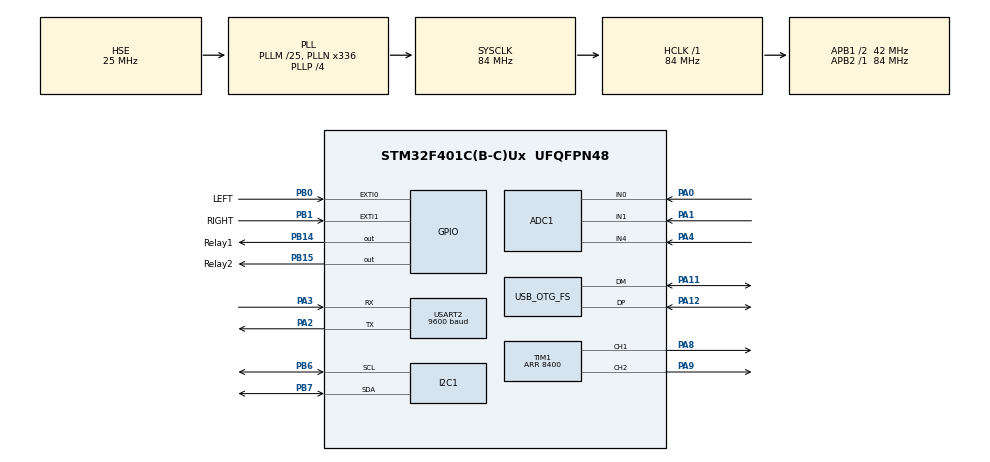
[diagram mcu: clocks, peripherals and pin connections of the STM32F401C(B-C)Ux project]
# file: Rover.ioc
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ADC1.Channel-1\#ChannelRegularConversion=ADC_CHANNEL_0
ADC1.Channel-2\#ChannelRegularConversion=ADC_CHANNEL_1
ADC1.Channel-3\#ChannelRegularConversion=ADC_CHANNEL_4
ADC1.Channel-4\#ChannelRegularConversion=ADC_CHANNEL_TEMPSENSOR
ADC1.Channel-5\#ChannelRegularConversion=ADC_CHANNEL_VREFINT
ADC1.ContinuousConvMode=DISABLE
ADC1.NbrOfConversion=5
ADC1.NbrOfConversionFlag=1
ADC1.Rank-1\#ChannelRegularConversion=1
ADC1.Rank-2\#ChannelRegularConversion=2
ADC1.Rank-3\#ChannelRegularConversion=3
ADC1.Rank-4\#ChannelRegularConversion=4
ADC1.Rank-5\#ChannelRegularConversion=5
ADC1.SamplingTime-1\#ChannelRegularConversion=ADC_SAMPLETIME_15CYCLES
ADC1.SamplingTime-2\#ChannelRegularConversion=ADC_SAMPLETIME_15CYCLES
ADC1.SamplingTime-3\#ChannelRegularConversion=ADC_SAMPLETIME_15CYCLES
ADC1.SamplingTime-4\#ChannelRegularConversion=ADC_SAMPLETIME_15CYCLES
ADC1.SamplingTime-5\#ChannelRegularConversion=ADC_SAMPLETIME_15CYCLES
ADC1.ScanConvMode=ENABLE
ADC1.master=1
Dma.ADC1.0.Direction=DMA_PERIPH_TO_MEMORY
Dma.ADC1.0.FIFOMode=DMA_FIFOMODE_DISABLE
Dma.ADC1.0.Instance=DMA2_Stream0
Dma.ADC1.0.MemDataAlignment=DMA_MDATAALIGN_HALFWORD
Dma.ADC1.0.MemInc=DMA_MINC_ENABLE
Dma.ADC1.0.Mode=DMA_NORMAL
Dma.ADC1.0.PeriphDataAlignment=DMA_PDATAALIGN_HALFWORD
Dma.ADC1.0.PeriphInc=DMA_PINC_DISABLE
Dma.ADC1.0.Priority=DMA_PRIORITY_LOW
Dma.Request0=ADC1
Mcu.Family=STM32F4
Mcu.Name=STM32F401C(B-C)Ux
Mcu.Package=UFQFPN48
NVIC.DMA2_Stream0_IRQn=true\:0\:0\:false\:false\:true\:false\:true\:true
NVIC.EXTI0_IRQn=true\:0\:0\:false\:false\:true\:true\:true\:true
NVIC.EXTI1_IRQn=true\:0\:0\:false\:false\:true\:true\:true\:true
NVIC.OTG_FS_IRQn=true\:0\:0\:false\:false\:true\:false\:true\:true
NVIC.PriorityGroup=NVIC_PRIORITYGROUP_4
NVIC.TIM1_UP_TIM10_IRQn=true\:0\:0\:false\:false\:true\:true\:true\:true
NVIC.TIM2_IRQn=true\:0\:0\:false\:false\:true\:true\:true\:true
NVIC.USART2_IRQn=true\:0\:0\:false\:false\:true\:true\:true\:true
PA0-WKUP.Signal=ADCx_IN0
PA1.Signal=ADCx_IN1
PA11.Mode=Device_Only
PA11.Signal=USB_OTG_FS_DM
PA12.Mode=Device_Only
PA12.Signal=USB_OTG_FS_DP
PA2.Mode=Asynchronous
PA2.Signal=USART2_TX
PA3.Mode=Asynchronous
PA3.Signal=USART2_RX
PA4.Signal=ADCx_IN4
PA8.Signal=S_TIM1_CH1
PA9.Signal=S_TIM1_CH2
PB0.GPIO_Label=LEFT
PB0.Signal=GPXTI0
PB1.GPIO_Label=RIGHT
PB1.Signal=GPXTI1
PB14.GPIO_Label=Relay1
PB14.Signal=GPIO_Output
PB15.GPIO_Label=Relay2
PB15.Signal=GPIO_Output
PB6.Mode=I2C
PB6.Signal=I2C1_SCL
PB7.Mode=I2C
PB7.Signal=I2C1_SDA
PH0\ -\ OSC_IN.Mode=HSE-External-Oscillator
PH0\ -\ OSC_IN.Signal=RCC_OSC_IN
PH1\ -\ OSC_OUT.Mode=HSE-External-Oscillator
PH1\ -\ OSC_OUT.Signal=RCC_OSC_OUT
ProjectManager.HeapSize=0x200
ProjectManager.StackSize=0x400
ProjectManager.TargetToolchain=STM32CubeIDE
RCC.48MHZClocksFreq_Value=48000000
RCC.AHBFreq_Value=84000000
RCC.APB1CLKDivider=RCC_HCLK_DIV2
RCC.APB1Freq_Value=42000000
RCC.APB1TimFreq_Value=84000000
RCC.APB2Freq_Value=84000000
RCC.APB2TimFreq_Value=84000000
RCC.CortexFreq_Value=84000000
RCC.HCLKFreq_Value=84000000
RCC.HSE_VALUE=25000000
RCC.HSI_VALUE=16000000
RCC.LSE_VALUE=32768
RCC.PLLM=25
RCC.PLLN=336
RCC.PLLP=RCC_PLLP_DIV4
RCC.PLLQ=7
RCC.SYSCLKFreq_VALUE=84000000
RCC.SYSCLKSource=RCC_SYSCLKSOURCE_PLLCLK
RCC.VCOOutputFreq_Value=336000000
SH.ADCx_IN0.0=ADC1_IN0,IN0
SH.ADCx_IN1.0=ADC1_IN1,IN1
SH.ADCx_IN4.0=ADC1_IN4,IN4
SH.S_TIM1_CH1.0=TIM1_CH1,PWM Generation1 CH1
SH.S_TIM1_CH2.0=TIM1_CH2,PWM Generation2 CH2
TIM1.Channel-PWM\ Generation1\ CH1=TIM_CHANNEL_1
TIM1.Channel-PWM\ Generation2\ CH2=TIM_CHANNEL_2
TIM1.Period=8400
USART2.BaudRate=9600
USART2.VirtualMode=VM_ASYNC
USB_DEVICE.CLASS_NAME_FS=CDC
USB_DEVICE.VirtualMode=Cdc
USB_DEVICE.VirtualModeFS=Cdc_FS
USB_OTG_FS.VirtualMode=Device_Only
VP_ADC1_TempSens_Input.Mode=IN-TempSens
VP_ADC1_Vref_Input.Mode=IN-Vrefint
VP_TIM1_VS_ClockSourceINT.Mode=Internal
VP_TIM2_VS_ClockSourceINT.Mode=Internal
VP_USB_DEVICE_VS_USB_DEVICE_CDC_FS.Mode=CDC_FS
board=custom

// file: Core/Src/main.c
/* USER CODE BEGIN Header */
/**
 ******************************************************************************
 * @file           : main.c
 * @brief          : Main program body
 ******************************************************************************
 * @attention
 *
 * Copyright (c) 2024 STMicroelectronics.
 * All rights reserved.
 *
 * This software is licensed under terms that can be found in the LICENSE file
 * in the root directory of this software component.
 * If no LICENSE file comes with this software, it is provided AS-IS.
 *
 ******************************************************************************
 */
/* USER CODE END Header */
#include "main.h"
#include "usb_device.h"
#include <string.h>

/* USER CODE BEGIN Includes */
#include "usbd_cdc_if.h"
#include "MPUXX50.h"
#include "magnetometer.h"
#include "adxl345.h"
#include "MAGNETO.h"
//#include "sr04.h"
//#include "gy85.h"
//#include "motor_control.h"
#include <stdio.h>
#include <math.h>

/* USER CODE END Includes */

/* USER CODE BEGIN PD */
volatile rxque usb = { 0 };
srcom com[2] = { 0 };
volatile wheel right_wheel = { 0 };
volatile wheel left_wheel = { 0 };
uint32_t t_count_rpm1 = 0;
uint32_t t_count_rpm2 = 0;
uint32_t pid_counter = 0;
PID left_pid = { 0 };
PID right_pid = { 0 };
volatile uint8_t check_pid = { 0 };
#define LEFT 1
#define RIGHT 2
uint8_t set_rpm1 = 0;
uint8_t set_rpm2 = 0;
uint8_t isDirect = 0;
int sampling_time = 2000;

volatile int mainmode = 0;
volatile int submode = 0;

int arrDiff[20];
uint8_t arr_i = 0;
uint16_t elapsedCounter = 0;
#define CCRMAX 8000
#define CCRMIN 0
#define USB 0
#define SERIAL 1
char serial_buffer[100];
int mDelay = 0;
#define diameter 10.16
#define slot_dist 1.59
volatile double current_dist = 0;
volatile double user_dist = 0;
volatile double distance_difference = 0;
uint8_t mag_buffer[6];
int16_t mag_x, mag_y, mag_z;
#define base 30
double arc_length = 0;
#define TRUE  1
#define FALSE 0
float roll = 0;
float pitch = 0;
uint8_t turning = 0;
#define ADC_BUFFER_SIZE 5
uint32_t adc_buffer[5] = {};

// Relay1 Left
// Relay2 Right

/* USER CODE END PD */

ADC_HandleTypeDef hadc1;
DMA_HandleTypeDef hdma_adc1;

I2C_HandleTypeDef hi2c1;

TIM_HandleTypeDef htim1;
TIM_HandleTypeDef htim2;

UART_HandleTypeDef huart2;

void SystemClock_Config(void);
static void MX_GPIO_Init(void);
static void MX_DMA_Init(void);
static void MX_I2C1_Init(void);
static void MX_TIM1_Init(void);
static void MX_TIM2_Init(void);
static void MX_USART2_UART_Init(void);
static void MX_ADC1_Init(void);
/* USER CODE BEGIN PFP */
//
/* USER CODE END PFP */

/* USER CODE BEGIN 0 */

//void update_rpm() {
//	 M1.rpm = (avgl * 20) / 84e6;
//	 left_pid.cvalue = M1.rpm;
//}
void setpwm(uint16_t value, uint32_t chanel) {
	switch (chanel) {
	case 1:
		TIM1->CCR1 = value;
		break;
	case 2:
		TIM1->CCR2 = value;
		break;
	}
}

void getDifference(wheel *w) {
	switch (w->state) {
	case 0:
		w->sCount = TIM2->CNT;
		w->state = 1;
		w->distance += slot_dist;
		break;
	case 1:
		w->eCount = TIM2->CNT;
		t_count_rpm1 = 0;
		int diff = w->eCount - w->sCount;
		if (diff > 320000) {
			w->diff = diff;
		}
		w->distance += slot_dist;
		w->sCount = w->eCount;
		break;
	}
}
void HAL_GPIO_EXTI_Callback(uint16_t GPIO_Pin) {
	if (GPIO_Pin == LEFT_Pin) {
		right_wheel.stop_counter = 0;
		getDifference(&right_wheel);
	} else if (GPIO_Pin == RIGHT_Pin) {
		left_wheel.stop_counter = 0;
		getDifference(&left_wheel);
	}
}
double calc_theta(int, int);
double getArcLength(int, int);
void Transmit_SERIAL_USB(char *buf, uint8_t chanel) {
	switch (chanel) {
	case 0:
		CDC_Transmit_FS(buf, strlen(buf));
		break;
	case 1:
		for (int i = 0; i < strlen(buf); i++) {
			Transmit(&huart2, buf[i]);
		}
		break;
	}
}
//void Transmit_SERIAL_USB(char *buf) {
//	Transmit_SERIAL_USB_1(buf);
//	HAL_UART_Transmit(&huart2, buf, sizeof(buf), 100);
//}
void INIT() {
	right_pid.coffp = 0.5;
	right_pid.coffi = 1; // change to 4
	right_pid.coffd = 0;
	right_pid.outmax = 8000;
	right_pid.outmin = 600;
	right_pid.imin = -5000;
	right_pid.imax = 5000;
	right_pid.integral = 0;
	right_pid.side = 1;
	right_wheel.base_start = 3000;
	right_wheel.stop_counter = 0; //Max 2000

	left_pid.coffp = 0.5; //3.056
	left_pid.coffi = 1;  //
	left_pid.coffd = 0;
	left_pid.outmax = 8000;
	left_pid.outmin = 600;
	left_pid.imin = -5000;
	left_pid.imax = 5000;
	left_pid.integral = 0;
	left_pid.side = 2;
	left_wheel.base_start = 3000;
	left_wheel.stop_counter = 0; //Max 2000
}

void calcPID(PID *in) {
	in->error = in->svalue - in->cvalue;
	in->integral += (in->error / 5);
	if (in->integral > in->imax)
		in->integral = in->imax;
	else if (in->integral < in->imin)
		in->integral = in->imin;
	int derr = in->prev_error - in->error;
	in->prev_error = in->error;
	double out = (in->coffp * in->error) + (in->coffi * in->integral)
			+ (in->coffd * derr);
	int tem_out = lrint(out);
	if (tem_out < in->outmin)
		tem_out = in->outmin;
	else if (tem_out > in->outmax)
		tem_out = in->outmax;
	in->output = tem_out;
}
// chanel 0 is usb chanel 1 is serial port
char ischar(int chanel) {
	switch (chanel) {
	case USB:
		if (usb.head == usb.tail)
			return 0;
		else
			return 1;
		break;
	case SERIAL:
		return csts(&huart2);
		break;

	}
}

char readchar(int chanel) {
	switch (chanel) {
	case USB: {
		char t = 0;
		if (ischar(chanel))
			t = usb.buf[usb.tail++];
		else
			return 0;
		usb.tail %= 100;
		return t;
	}
		break;

	case SERIAL: {
		char t = 0;
		if (ischar(chanel)) {
			t = Receive(&huart2, 10);
			return t;
		} else
			return 0;
	}
		break;
	}
}

void toggleDirection(uint8_t wheel_side) {
	switch (wheel_side) {
	case LEFT:
		TIM1->CCR2 = 0;
		HAL_Delay(2000);
		HAL_GPIO_TogglePin(Relay2_GPIO_Port, Relay2_Pin);
		break;
	case RIGHT:
		TIM1->CCR1 = 0;
		HAL_Delay(2000);
		HAL_GPIO_TogglePin(Relay1_GPIO_Port, Relay1_Pin);
		break;
	}
}

double get_distance() {
	return left_wheel.distance;
//	return(left_wheel.distance + right_wheel.distance)/2;
}

double calc_distance(int x, int y) {
	return sqrt(x * x + y * y);
}
void startRotation(double theta) {
	TIM1->CCR2 = 0;
	TIM1->CCR1 = 0;
	HAL_Delay(500);
	if (theta < 0) {
		HAL_GPIO_WritePin(Relay1_GPIO_Port, Relay1_Pin, GPIO_PIN_SET);
		HAL_GPIO_WritePin(Relay2_GPIO_Port, Relay2_Pin, GPIO_PIN_RESET);

	} else {
		HAL_GPIO_WritePin(Relay1_GPIO_Port, Relay1_Pin, GPIO_PIN_RESET);
		HAL_GPIO_WritePin(Relay2_GPIO_Port, Relay2_Pin, GPIO_PIN_SET);
	}
	HAL_Delay(500);
	TIM1->CCR2 = 3000;
	TIM1->CCR1 = 3000;
}
#define TIME_TO_COVER 10
#define CCR_SCALE_FACTOR 66.66
#define TYRE_DIA 10.16
#define MAX_CCR 8000
#define MIN_CCR 1600
#define PI 3.1428
#define RPM_FACTOR (60 / (2 * PI * TYRE_DIA))

double TURN_RIGHT_LEFT_WITH_TIME(double radius, double distance,
		uint8_t direction) {

	//theta *= (PI / 180);
	float theta = distance / radius; //100 / 20
	double omega = theta / TIME_TO_COVER;
	double velocity_right = omega * (radius - (base / 2)); // 5
	double velocity_left = omega * (radius + (base / 2)); //6.27

	// Convert to RPM
	velocity_right = (velocity_right / RPM_FACTOR); // 9.
	velocity_left = (velocity_left / RPM_FACTOR); //11.7

	// Scale UP
	velocity_right *= CCR_SCALE_FACTOR;
	velocity_left *= CCR_SCALE_FACTOR;

	double max_velocity =
			(velocity_right > velocity_left) ? velocity_right : velocity_left;

	// Scaling Down
	if (max_velocity > MAX_CCR) {
		double scaling_ratio = MAX_CCR / max_velocity;
		velocity_right = scaling_ratio;
		velocity_left = scaling_ratio;
	}

	if (direction == LEFT) {
		TIM1->CCR1 = velocity_left;
		TIM1->CCR2 = velocity_right;
	} else {
		TIM1->CCR1 = velocity_right;
		TIM1->CCR2 = velocity_left;
	}

	return (radius - (base / 2) * theta);

}
double TURN_RIGHT_LEFT(double radius, double theta, uint8_t direction) {

	theta *= (3.14 / 180);
	// Calculate angular velocity
	double distance = radius * theta;
	double omega = theta / (distance / radius);

	// Calculate relative radii for the left and right tires
	double radius_left = radius + (base / 2);
	double radius_right = radius - (base / 2);

	// Calculate linear velocities based on angular velocity and relative radii
	double velocity_left = omega * radius_left;
	double velocity_right = omega * radius_right;

	// Convert linear velocities to RPM
	double rpm_factor = 60 / (2 * 3.14 * TYRE_DIA);
	velocity_left /= rpm_factor;
	velocity_right /= rpm_factor;

	// Scale up velocities
	velocity_left *= CCR_SCALE_FACTOR;
	velocity_right *= CCR_SCALE_FACTOR;

	// Determine the maximum velocity
	double max_velocity =
			(velocity_right > velocity_left) ? velocity_right : velocity_left;
	double min_velocity =
			(velocity_right < velocity_left) ? velocity_right : velocity_left;

	// Scaling down if necessary
	if (max_velocity > MAX_CCR) {
		double scaling_ratio = MAX_CCR / max_velocity;
		velocity_left *= scaling_ratio;
		velocity_right *= scaling_ratio;
	}
	if (min_velocity < MIN_CCR) {
		double scaling_ratio = MIN_CCR / min_velocity;
		velocity_left *= scaling_ratio;
		velocity_right *= scaling_ratio;
	}

	// Set PWM CCR values based on direction
	if (direction == LEFT) {
		TIM1->CCR1 = (uint16_t) velocity_left;
		TIM1->CCR2 = (uint16_t) velocity_right;
	} else {
		TIM1->CCR1 = (uint16_t) velocity_right;
		TIM1->CCR2 = (uint16_t) velocity_left;
	}

	// Return the new radius or any other calculated value as needed
	return radius_right;
}
void process(char *buf, uint8_t chanel) {
	char *ln = NULL;
	char msg[100];
	if ((ln = strstr(buf, "GOTOX:")) != NULL) {
		int tmp = atoi(&ln[6]);
		if ((ln = strstr(buf, ",Y:")) != NULL) {
			int tmp2 = atoi(&ln[3]);
			current_dist = get_distance();
			arc_length = getArcLength(tmp, tmp2);
			startRotation(calc_theta(tmp, tmp2));
			user_dist = calc_distance(tmp, tmp2);
			mainmode = 4;
		}
		sprintf(msg, "arch length is %d", arc_length);
		Transmit_SERIAL_USB(msg, chanel);
	} else if ((ln = strstr(buf, "SETWR:")) != NULL) {
		uint16_t tmp = atoi(&ln[6]);
		//printf("Motor 1 CCR set to %d\r\n",tmp);
		sprintf(msg, "Motor 1 CCR Set to %d\r\n", tmp);
//		left_pid.svalue = tmp*100;
		//Transmit_SERIAL_USB(msg, chanel);
		//pwmcheck(tmp, 1);
		isDirect = 1;
		TIM1->CCR1 = tmp;
	} else if ((ln = strstr(buf, "SETWL:")) != NULL) {
		uint16_t tmp = atoi(&ln[6]);
		sprintf(msg, "Motor 2 CCR set to %d\r\n", tmp);
		//		right_pid.svalue = tmp*100;
		//Transmit_SERIAL_USB(msg, chanel);
		isDirect = 1;
		//pwmcheck(tmp, 2);

		TIM1->CCR2 = tmp;
	} else if ((ln = strstr(buf, "SETPIDL:")) != NULL) {
		uint16_t tmp = atoi(&ln[8]);
		sprintf(msg, "Left Wheel PID set to %d\r\n", tmp);
		Transmit_SERIAL_USB(msg, chanel);
		//pwmcheck(tmp, 2);
		left_pid.svalue = tmp * 100;
		isDirect = 0;
		set_rpm1 = 1;
		mainmode = 1;
	} else if ((ln = strstr(buf, "SETPIDR:")) != NULL) {
		uint16_t tmp = atoi(&ln[8]);
		sprintf(msg, "Right Wheel PID set to %d\r\n", tmp);
		Transmit_SERIAL_USB(msg, chanel);
		isDirect = 0;
		//pwmcheck(tmp, 2);
		right_pid.svalue = tmp * 100;
		set_rpm2 = 1;
		mainmode = 1;
	} else if ((ln = strstr(buf, "SETPPR:")) != NULL) {
		double tmp = atof(&ln[7]);
		sprintf(msg, "Motor 2 coffP set to %d\r\n", (int) tmp);
		Transmit_SERIAL_USB(msg, chanel);
		//pwmcheck(tmp, 2);
		right_pid.coffp = tmp;
	} else if ((ln = strstr(buf, "SETPIR:")) != NULL) {
		double tmp = atof(&ln[7]);
		sprintf(msg, "Motor 2 coffI set to %d\r\n", (int) tmp);
		Transmit_SERIAL_USB(msg, chanel);
		//pwmcheck(tmp, 2);
		right_pid.coffi = tmp;
	} else if ((ln = strstr(buf, "SETPDR:")) != NULL) {
		double tmp = atof(&ln[7]);
		sprintf(msg, "Motor 2 coffD set to %d\r\n", (int) tmp);
		Transmit_SERIAL_USB(msg, chanel);
		//pwmcheck(tmp, 2);
		right_pid.coffd = tmp;
	} else if ((ln = strstr(buf, "SETPPL:")) != NULL) {
		double tmp = atof(&ln[7]);
		sprintf(msg, "Motor 2 coffP set to %d\r\n", (int) tmp);
		Transmit_SERIAL_USB(msg, chanel);
		//pwmcheck(tmp, 2);
		left_pid.coffp = tmp;
	} else if ((ln = strstr(buf, "SETPIL:")) != NULL) {
		double tmp = atof(&ln[7]);
		sprintf(msg, "Motor 2 coffI set to %d\r\n", (int) tmp);
		Transmit_SERIAL_USB(msg, chanel);
		//pwmcheck(tmp, 2);
		left_pid.coffi = tmp;
	} else if ((ln = strstr(buf, "SETPDL:")) != NULL) {
		double tmp = atof(&ln[7]);
		sprintf(msg, "Motor 2 coffD set to %d\r\n", (int) tmp);
		Transmit_SERIAL_USB(msg, chanel);
		left_pid.coffd = tmp;
	} else if ((ln = strstr(buf, "SETST:")) != NULL) {
		double tmp = atof(&ln[7]);
		sprintf(msg, "Sampling Time SET to %d\r\n", (int) tmp);
		Transmit_SERIAL_USB(msg, chanel);
		sampling_time = tmp;
	} else if ((ln = strstr(buf, "SETWD:")) != NULL) {
		double tmp = atof(&ln[7]);
		sprintf(msg, "Motor 2 coffD set to %d\r\n", (int) tmp);
		Transmit_SERIAL_USB(msg, chanel);
		left_pid.coffd = tmp;
	} else if ((ln = strstr(buf, "STOP")) != NULL) {
		Transmit_SERIAL_USB(msg, chanel);
		TIM1->CCR1 = 0;
		TIM1->CCR2 = 0;
		left_pid.svalue = 0;
		right_pid.svalue = 0;
		isDirect = 1;
		mainmode = 0;
	} else if ((ln = strstr(buf, "RWL")) != NULL) {
		sprintf(msg, "Reversed Wheel LEFT");
		Transmit_SERIAL_USB(msg, chanel);
		toggleDirection(LEFT);
	} else if ((ln = strstr(buf, "RWR")) != NULL) {
		sprintf(msg, "Reversed Wheel RIGHT");
		Transmit_SERIAL_USB(msg, chanel);
		toggleDirection(RIGHT);
	} else if ((ln = strstr(buf, "GOSTR:")) != NULL) {
		double tmp = atof(&ln[6]);
		//if ((ln = strstr(buf, "GOSTR:")) != NULL) {
		//double tmp2 = atof(&ln[6]);
		sprintf(msg, "Rover go to distance %d with speed %d\r\n", (int) tmp,
				4000);
		Transmit_SERIAL_USB(msg, chanel);
		user_dist = tmp;
		mainmode = 2;
	} else if ((ln = strstr(buf, "CS")) != NULL) {
		printVariables(msg, chanel);
	} else if ((ln = strstr(buf, "GOSTRP:")) != NULL) {
		double tmp = atof(&ln[7]);
		//if ((ln = strstr(buf, "GOSTR:")) != NULL) {
		//double tmp2 = atof(&ln[6]);
		sprintf(msg, "Rover go to distance %d with speed %d\r\n", (int) tmp,
				3000);
		Transmit_SERIAL_USB(msg, chanel);
//			current_dist = get_distance();
//			user_dist = tmp / 4;
//			left_pid.svalue = 30 * 100;
//			right_pid.svalue = left_pid.svalue;
		isDirect = 0;
		set_rpm1 = 1;
		set_rpm2 = 1;
		mainmode = 2;
	} else if ((ln = strstr(buf, "RAD:")) != NULL) {
		double radius = atof(&ln[4]);
		if ((ln = strstr(buf, ",THETA:")) != NULL) {
			double theta = atof(&ln[7]);
			sprintf(msg, "Rover RADIUS IS: %d, THETA IS: %d\r\n", (int) radius,
					theta);
			Transmit_SERIAL_USB(msg, chanel);
			if (theta >= 0)
				user_dist = TURN_RIGHT_LEFT(radius, theta, RIGHT);
			if (theta < 0)
				user_dist = TURN_RIGHT_LEFT(radius, theta, LEFT);

			turning = 1;
			right_wheel.distance = 0;
			left_wheel.distance = 0;
			mainmode = 3;

//			current_dist = get_distance();
//			user_dist = tmp / 4;
//			left_pid.svalue = 30 * 100;
//			right_pid.svalue = left_pid.svalue;
//			isDirect = 0;
//			set_rpm1 = 1;
//			set_rpm2 = 1;
//			mainmode = 2;
		}

	}
}
char* comProcess(int chanel) {
	if (ischar(chanel)) {
		char t = readchar(chanel);
		switch (com[chanel].state) {
		case 0:
			if ('$' == t) {
				com[chanel].state = 1;
				com[chanel].cp = 0;
				com[chanel].buf[com[chanel].cp++] = t;
			}
			break;
		case 1:
			if (t >= ' ') {
				com[chanel].buf[com[chanel].cp++] = t;
				com[chanel].cp %= 100;
			} else if (t == 0x0A) {
				com[chanel].buf[com[chanel].cp] = 0;
				com[chanel].state = 2;
				return com[chanel].buf;
			}
		case 2:
			break;
		}
	}
	return NULL;
}
uint32_t adc_buffer_copy[ADC_BUFFER_SIZE] = {};
void HAL_ADC_ConvCpltCallback(ADC_HandleTypeDef *hadc) {
	if (hadc->Instance == ADC1) {
		memcpy(adc_buffer_copy, adc_buffer, ADC_BUFFER_SIZE);
	}
}

void HAL_TIM_PeriodElapsedCallback(TIM_HandleTypeDef *htim) {
	if (htim->Instance == TIM1) {
		// Sampling for the ADC
		HAL_ADC_Start_DMA(&hadc1,(uint32_t*) adc_buffer, ADC_BUFFER_SIZE);
//	    MPU_calcAttitude(&hi2c1, &roll, &pitch); // mpu6050
		left_wheel.stop_counter++;
		right_wheel.stop_counter++;
		pid_counter++;
		if (left_wheel.stop_counter == 5000) {
			left_wheel.stop_counter = 0;
			left_wheel.rpm = 0;
			left_pid.cvalue = 0;
			left_wheel.diff = 0;
			left_wheel.distance = 0;
			left_wheel.state = 0;
		}
		if (right_wheel.stop_counter == 5000) {
			right_wheel.stop_counter = 0;
			right_wheel.rpm = 0;
			right_pid.cvalue = 0;
			right_wheel.diff = 0;
			right_wheel.distance = 0;
			right_wheel.state = 0;
		}
		if (pid_counter == sampling_time) {
			pid_counter = 0;
			check_pid = 1;
		}
	}
}

void resetCalc(PID *pid, wheel *wheel) {
	pid->cvalue = 0;
	wheel->diff = 0;
}

void saveRPM() {
	left_pid.prev_cvalue = left_pid.cvalue;
	left_wheel.prev_diff = left_wheel.diff;

	right_pid.prev_cvalue = right_pid.cvalue;
	right_wheel.prev_diff = right_wheel.diff;
}

short calcRPM(int difference) {
	if (difference == 0)
		return 0;
	double last_rpm_2 = (double) difference;
	last_rpm_2 = ((last_rpm_2 / 84e6) * 20) / 60;
	last_rpm_2 = 1 / last_rpm_2;
	if ((last_rpm_2 = lrint(last_rpm_2 * 100)) < 0) {
		arrDiff[arr_i++] = difference;
		arr_i %= 19;
	}
	return last_rpm_2;
}

void selfStart(PID *pid) {
	switch (pid->side) {
	case 2: {
		set_rpm2 = 0;
		TIM1->CCR2 = left_wheel.base_start;
		break;
	}
	case 1: {
		set_rpm1 = 0;
		TIM1->CCR1 = right_wheel.base_start;
		break;
	}
		HAL_Delay(500);
	}
}
void printRPM(PID *pid, uint32_t ccr, char *msg, uint8_t chanel) {
	switch (pid->side) {
	case 2: {
		sprintf(msg, "(currentV %d)(setV %d)(CCR %d)\r\n", (int) pid->cvalue,
				(int) pid->svalue, (int) ccr);
		break;
	}
	case 1: {
		sprintf(msg, "RightPID(2): (currentV %d)(setV %d)(CCR %d)\r\n",
				(int) pid->cvalue, (int) pid->svalue, (int) ccr);
		break;
	}
	}
	Transmit_SERIAL_USB(msg, chanel);
}

void printPID(PID *left_pid, char *msg, uint8_t chanel) {
	if (left_pid->side == 2)
		sprintf(msg, "Left: %d %d %d %d %d\r\n", (int) left_pid->cvalue,
				(int) left_pid->svalue, (int) TIM1->CCR2,
				(int) (left_pid->integral), (int) left_pid->coffd,
				(int) left_pid->coffp);
	else
		sprintf(msg, "Right: %d %d %d %d %d\r\n", (int) left_pid->cvalue,
				(int) left_pid->svalue, (int) TIM1->CCR2,
				(int) (left_pid->integral), (int) left_pid->coffd,
				(int) left_pid->coffp);
	Transmit_SERIAL_USB(msg, chanel);
//	HAL_Delay(100);
}

double calc_theta(int x, int y) {
	return (atan(x / y));
}

double getArcLength(int x, int y) {
	return (calc_theta(x, y) * (base / 2));
}

void printVariables(char *msg, uint8_t chanel) {
	sprintf(msg, "Covered Distance: (left)%d, (right)%d, User Distance: %d\r\n",
			(int) (left_wheel.distance), (int) right_wheel.distance,
			(int) user_dist);
	Transmit_SERIAL_USB(msg, chanel);
}

void handleAcc(PID *pid) {

	if (pid->cvalue < pid->svalue && (pid->outmax + 500) <= CCRMAX)
		pid->outmax += 500; // Acceleration
	else if (pid->cvalue > pid->svalue && (pid->outmax - 500) >= CCRMIN)
		pid->outmin -= 500;

}

void reverseWheel(uint8_t wheel_side) {
	switch (wheel_side) {
	case LEFT:
		TIM1->CCR2 = 0;
		HAL_Delay(500);
		HAL_GPIO_WritePin(Relay2_GPIO_Port, Relay2_Pin, GPIO_PIN_SET);
		break;
	case RIGHT:
		TIM1->CCR1 = 0;
		HAL_Delay(500);
		HAL_GPIO_WritePin(Relay1_GPIO_Port, Relay1_Pin, GPIO_PIN_SET);
		break;
	}
}

void reverseBothWheels() {
	toggleDirection(LEFT);
	toggleDirection(RIGHT);
}

void magnetometer(char *msg) {
	// RECEIVE X_axis
	HAL_StatusTypeDef status;
	if (status = HAL_I2C_Mem_Read(&hi2c1, HMC5883l_ADDRESS,
	HMC5883l_ADD_DATAX_MSB_MULTI, 1, DataX, 2, 100) != HAL_OK) {
		sprintf(msg, "Not X %u.", status);
		Transmit_SERIAL_USB(msg, SERIAL);
	}
	Xaxis = ((DataX[1] << 8) | DataX[0]) / 660.f;
	// RECEIVE Y_axis
	if (status = HAL_I2C_Mem_Read(&hi2c1, HMC5883l_ADDRESS,
	HMC5883l_ADD_DATAY_MSB_MULTI, 1, DataY, 2, 100) != HAL_OK) {
		sprintf(msg, "Not Y %u.", status);
		Transmit_SERIAL_USB(msg, SERIAL);
	}
	Yaxis = ((DataY[1] << 8) | DataY[0]) / 660.f;
	// RECEIVE Z_axis
	if (status = HAL_I2C_Mem_Read(&hi2c1, HMC5883l_ADDRESS,
	HMC5883l_ADD_DATAZ_MSB_MULTI, 1, DataZ, 2, 100) != HAL_OK) {
		sprintf(msg, "Not Z %u.\r\n", status);
		Transmit_SERIAL_USB(msg, SERIAL);
	}

	Zaxis = ((DataZ[1] << 8) | DataZ[0]) / 660.f;
	sprintf(msg, "X: %u, Y: %u, Z: %u\r\n", Xaxis, Yaxis, Zaxis);
	Transmit_SERIAL_USB(msg, SERIAL);
}

//void accelerate(short& outMax) {
//	if (outMax + 500)
//}
//
//void checkAcceleration(uint8_t side) {
//	switch(side) {
//	case LEFT:
//		if (left_pid.cvalue > left_pid.svalue)
//	}
//}

/* USER CODE END 0 */

int main(void) {

	/* USER CODE BEGIN 1 */

	char msg[100] = { 0 };
	char *buf = NULL;
	short temp_cvalue = 0;

	/* USER CODE END 1 */

	/* MCU Configuration--------------------------------------------------------*/

	/* Reset of all peripherals, Initializes the Flash interface and the Systick. */
	HAL_Init();

	/* Configure the system clock */
	SystemClock_Config();

	/* Initialize all configured peripherals */
	MX_GPIO_Init();
	MX_DMA_Init();
	MX_I2C1_Init();
	MX_TIM1_Init();
	MX_TIM2_Init();
	MX_USART2_UART_Init();
	MX_USB_DEVICE_Init();
	MX_ADC1_Init();
	/* USER CODE BEGIN 2 */

	HAL_TIM_Base_Start_IT(&htim1);
	HAL_TIM_Base_Start(&htim2);
	HAL_TIM_PWM_Start(&htim1, TIM_CHANNEL_1);
	HAL_TIM_PWM_Start(&htim1, TIM_CHANNEL_2);
	__HAL_UART_ENABLE_IT(&huart2, UART_IT_RXNE);
	__HAL_UART_ENABLE_IT(&huart2, UART_IT_TXE);
	HAL_NVIC_SetPriority(USART2_IRQn, 0, 0);
	HAL_NVIC_EnableIRQ(USART2_IRQn);
	INIT();
	// Check if IMU configured properly and block if it didn't
//	if (MPU_begin(&hi2c1, AD0_LOW, AFSR_4G, GFSR_500DPS, 0.98, 0.004) == TRUE) {
//		sprintf(msg, "Working MPU");
//		Transmit_SERIAL_USB(msg, SERIAL);
//	}
	mDelay = HAL_GetTick();

//	uint8_t RegSettingA = HMC5883l_Enable_A;
//	uint8_t RegSettingB = HMC5883l_Enable_B;
//	uint8_t RegSettingMR = HMC5883l_MR;
//	Xaxis = 0;
//	Yaxis = 0;
//	Zaxis = 0;
//	HAL_I2C_Mem_Write(&hi2c1, HMC5883l_ADDRESS, 0x00 , 1, &RegSettingA , 1, 100);
//	HAL_I2C_Mem_Write(&hi2c1, HMC5883l_ADDRESS, 0x01 , 1, &RegSettingB , 1, 100);
//	HAL_I2C_Mem_Write(&hi2c1, HMC5883l_ADDRESS, 0x02 , 1, &RegSettingMR , 1, 100);
//		ADXL345_Init();
//		MAGNETO_Init();
	uint16_t x = 0, y = 0, z = 0;
	HAL_StatusTypeDef status;

	/* USER CODE END 2 */

	/* Infinite loop */
	/* USER CODE BEGIN WHILE */
	while (1) {
		if ((buf = comProcess(SERIAL)) != NULL) {
			process(buf, SERIAL);
			com[SERIAL].state = 0;
		}
		if ((buf = comProcess(USB)) != NULL) {
			process(buf, USB);
			com[USB].state = 0;
		}
		switch (mainmode) {
		case 0:
//				//magnetometer(msg);
//				status = ADXL345_ReadAxis(x, y, z);
//				sprintf(msg, "A: X: %u, Y: %u, Z: %u and status: %u\r\n", x, y,
//						z, status);
//				Transmit_SERIAL_USB(msg, SERIAL);
//				Transmit_SERIAL_USB(msg, USB);
//				status = MAGNETO_ReadAxis(x, y, z);
//				sprintf(msg, "M: X: %u, Y: %u, Z: %u and status: %u\r\n", x, y,
//						z, status);
//				Transmit_SERIAL_USB(msg, SERIAL);
//				Transmit_SERIAL_USB(msg, USB);
////				MPU_calibrateGyro(&hi2c1, 1500);
//				sprintf(msg, "The Roll:%d, Pitch:%d", roll, pitch);
//				Transmit_SERIAL_USB(msg, SERIAL);

			break;
		case 1:
			if (check_pid) {
				check_pid = 0;
				if ((temp_cvalue = calcRPM(left_wheel.diff)) != -1)
					left_pid.cvalue = temp_cvalue;
				if (left_pid.cvalue < 12000) {
					calcPID(&left_pid);
					setpwm(left_pid.output, 2);
				}
				if ((temp_cvalue = calcRPM(right_wheel.diff)) != -1)
					right_pid.cvalue = temp_cvalue;
				if (right_pid.cvalue < 12000) {
					calcPID(&right_pid);
					setpwm(right_pid.output, 1);
				}
//					if ((left_wheel.distance>user_dist) || (right_wheel.distance>user_dist)) {
//						TIM1->CCR1 = 0;
//						TIM1->CCR2 = 0;
//						user_dist = 0;
//						mainmode=0;
//					}
			}
			break;
		case 2:
			// Initializing
			if (user_dist && isDirect) {
				left_wheel.distance = 0;
				right_wheel.distance = 0;
				TIM1->CCR1 = 3500;
				TIM1->CCR2 = 3500;
				sprintf(msg,
						"Rover go to current distance %d given distance %d\r\n",
						(int) get_distance(), (int) current_dist);
				Transmit_SERIAL_USB(msg, SERIAL);
				mainmode = 3;
			}
			if (user_dist && isDirect == 0) {
				left_wheel.distance = 0;
				right_wheel.distance = 0;
				left_pid.svalue = 3500;
				right_pid.svalue = 3500;
				mainmode = 1;
			}
			break;
		case 3:
			if (right_wheel.distance >= user_dist && turning) {
				TIM1->CCR1 = 0;
				TIM1->CCR2 = 0;
				user_dist = 0;
				mainmode = 0;
				turning = 0;
				break;
			}
			// handling covered distance
			if (((left_wheel.distance >= user_dist)
					|| (right_wheel.distance >= user_dist)) && turning == 0) {
				TIM1->CCR1 = 0;
				TIM1->CCR2 = 0;
				user_dist = 0;
				mainmode = 0;
				//magnetometer(msg);
			}
			break;
		case 4:
			// Handling rotation
			//startRotation(theta);
			if (get_distance() - current_dist >= arc_length) {
				TIM1->CCR1 = 0;
				TIM1->CCR2 = 0;
				HAL_GPIO_WritePin(Relay1_GPIO_Port, Relay1_Pin, GPIO_PIN_RESET);
				HAL_GPIO_WritePin(Relay2_GPIO_Port, Relay2_Pin, GPIO_PIN_RESET);
				sprintf(msg, "The wheel has turned for arclength of %d.\r\n ",
						arc_length * 100);
				Transmit_SERIAL_USB(msg, SERIAL);
				current_dist = 0;
				arc_length = 0;
				mainmode = 2;
			}

		}
		if ((HAL_GetTick() - mDelay) >= 1000) {
//			printVariables(msg, SERIAL);
//			printPID(&right_pid, msg, SERIAL);
//			printPID(&left_pid, msg, SERIAL);
			mDelay = HAL_GetTick();
		}
//		sprintf(msg, "LeftPID(1): (currentV %d)(setV %d)(CCR %d)(Integral %d)\r\n",
//				(int) left_pid.cvalue, (int) left_pid.svalue, (int) TIM1->CCR2, (int)(left_pid.integral));
//		Transmit_SERIAL_USB(msg);
////		printRPM(&left_pid, TIM1->CCR2, msg);
//		HAL_Delay(100);
//		sprintf(msg, "RightPID(2): (currentV %d)(setV %d)(CCR %d)\r\n",(int) right_pid.cvalue, (int) right_pid.svalue, (int) TIM1->CCR1);
//		Transmit_SERIAL_USB(msg);
//		printRPM(&right_pid, TIM1->CCR1, msg);

		//SR-04
//	  trigger();
//	  double lapse = stopTime - startTime;
//	  double dist = 17000.0 * (lapse /84e6);
//	  sprintf(msg,"%d\r\n",(int)(dist*1000));
//	  Transmit_SERIAL_USB(msg);
//
//	  //GY-85
//	  ADXL345_ReadAxis(&x, &y, &z);
//	  sprintf(msg, "X: %d", 12);
//	  Transmit_SERIAL_USB(msg);
//	  HAL_Delay(500);
		//PWM
		//  printf("Received dataalskdjf;lasd");

//	  rampUP();
//	  HAL_Delay(1000);
//	  rampDown();

		/* USER CODE END WHILE */

	}
}

void SystemClock_Config(void) {
	RCC_OscInitTypeDef RCC_OscInitStruct = { 0 };
	RCC_ClkInitTypeDef RCC_ClkInitStruct = { 0 };

	/** Configure the main internal regulator output voltage
	 */
	__HAL_RCC_PWR_CLK_ENABLE();
	__HAL_PWR_VOLTAGESCALING_CONFIG(PWR_REGULATOR_VOLTAGE_SCALE2);

	/** Initializes the RCC Oscillators according to the specified parameters
	 * in the RCC_OscInitTypeDef structure.
	 */
	RCC_OscInitStruct.OscillatorType = RCC_OSCILLATORTYPE_HSE;
	RCC_OscInitStruct.HSEState = RCC_HSE_ON;
	RCC_OscInitStruct.PLL.PLLState = RCC_PLL_ON;
	RCC_OscInitStruct.PLL.PLLSource = RCC_PLLSOURCE_HSE;
	RCC_OscInitStruct.PLL.PLLM = 25;
	RCC_OscInitStruct.PLL.PLLN = 336;
	RCC_OscInitStruct.PLL.PLLP = RCC_PLLP_DIV4;
	RCC_OscInitStruct.PLL.PLLQ = 7;
	if (HAL_RCC_OscConfig(&RCC_OscInitStruct) != HAL_OK) {
		Error_Handler();
	}

	/** Initializes the CPU, AHB and APB buses clocks
	 */
	RCC_ClkInitStruct.ClockType = RCC_CLOCKTYPE_HCLK | RCC_CLOCKTYPE_SYSCLK
			| RCC_CLOCKTYPE_PCLK1 | RCC_CLOCKTYPE_PCLK2;
	RCC_ClkInitStruct.SYSCLKSource = RCC_SYSCLKSOURCE_PLLCLK;
	RCC_ClkInitStruct.AHBCLKDivider = RCC_SYSCLK_DIV1;
	RCC_ClkInitStruct.APB1CLKDivider = RCC_HCLK_DIV2;
	RCC_ClkInitStruct.APB2CLKDivider = RCC_HCLK_DIV1;

	if (HAL_RCC_ClockConfig(&RCC_ClkInitStruct, FLASH_LATENCY_2) != HAL_OK) {
		Error_Handler();
	}
}

static void MX_ADC1_Init(void) {

	ADC_ChannelConfTypeDef sConfig = { 0 };

	/** Configure the global features of the ADC (Clock, Resolution, Data Alignment and number of conversion)
	 */
	hadc1.Instance = ADC1;
	hadc1.Init.ClockPrescaler = ADC_CLOCK_SYNC_PCLK_DIV4;
	hadc1.Init.Resolution = ADC_RESOLUTION_12B;
	hadc1.Init.ScanConvMode = ENABLE;
	hadc1.Init.ContinuousConvMode = DISABLE;
	hadc1.Init.DiscontinuousConvMode = DISABLE;
	hadc1.Init.ExternalTrigConvEdge = ADC_EXTERNALTRIGCONVEDGE_NONE;
	hadc1.Init.ExternalTrigConv = ADC_SOFTWARE_START;
	hadc1.Init.DataAlign = ADC_DATAALIGN_RIGHT;
	hadc1.Init.NbrOfConversion = 5;
	hadc1.Init.DMAContinuousRequests = DISABLE;
	hadc1.Init.EOCSelection = ADC_EOC_SINGLE_CONV;
	if (HAL_ADC_Init(&hadc1) != HAL_OK) {
		Error_Handler();
	}

	/** Configure for the selected ADC regular channel its corresponding rank in the sequencer and its sample time.
	 */
	sConfig.Channel = ADC_CHANNEL_0;
	sConfig.Rank = 1;
	sConfig.SamplingTime = ADC_SAMPLETIME_15CYCLES;
	if (HAL_ADC_ConfigChannel(&hadc1, &sConfig) != HAL_OK) {
		Error_Handler();
	}

	/** Configure for the selected ADC regular channel its corresponding rank in the sequencer and its sample time.
	 */
	sConfig.Channel = ADC_CHANNEL_1;
	sConfig.Rank = 2;
	if (HAL_ADC_ConfigChannel(&hadc1, &sConfig) != HAL_OK) {
		Error_Handler();
	}

	/** Configure for the selected ADC regular channel its corresponding rank in the sequencer and its sample time.
	 */
	sConfig.Channel = ADC_CHANNEL_4;
	sConfig.Rank = 3;
	if (HAL_ADC_ConfigChannel(&hadc1, &sConfig) != HAL_OK) {
		Error_Handler();
	}

	/** Configure for the selected ADC regular channel its corresponding rank in the sequencer and its sample time.
	 */
	sConfig.Channel = ADC_CHANNEL_TEMPSENSOR;
	sConfig.Rank = 4;
	if (HAL_ADC_ConfigChannel(&hadc1, &sConfig) != HAL_OK) {
		Error_Handler();
	}

	/** Configure for the selected ADC regular channel its corresponding rank in the sequencer and its sample time.
	 */
	sConfig.Channel = ADC_CHANNEL_VREFINT;
	sConfig.Rank = 5;
	if (HAL_ADC_ConfigChannel(&hadc1, &sConfig) != HAL_OK) {
		Error_Handler();
	}

}

static void MX_I2C1_Init(void) {

	hi2c1.Instance = I2C1;
	hi2c1.Init.ClockSpeed = 100000;
	hi2c1.Init.DutyCycle = I2C_DUTYCYCLE_2;
	hi2c1.Init.OwnAddress1 = 0;
	hi2c1.Init.AddressingMode = I2C_ADDRESSINGMODE_7BIT;
	hi2c1.Init.DualAddressMode = I2C_DUALADDRESS_DISABLE;
	hi2c1.Init.OwnAddress2 = 0;
	hi2c1.Init.GeneralCallMode = I2C_GENERALCALL_DISABLE;
	hi2c1.Init.NoStretchMode = I2C_NOSTRETCH_DISABLE;
	if (HAL_I2C_Init(&hi2c1) != HAL_OK) {
		Error_Handler();
	}

}

static void MX_TIM1_Init(void) {

	TIM_ClockConfigTypeDef sClockSourceConfig = { 0 };
	TIM_MasterConfigTypeDef sMasterConfig = { 0 };
	TIM_OC_InitTypeDef sConfigOC = { 0 };
	TIM_BreakDeadTimeConfigTypeDef sBreakDeadTimeConfig = { 0 };

	htim1.Instance = TIM1;
	htim1.Init.Prescaler = 0;
	htim1.Init.CounterMode = TIM_COUNTERMODE_UP;
	htim1.Init.Period = 8400;
	htim1.Init.ClockDivision = TIM_CLOCKDIVISION_DIV1;
	htim1.Init.RepetitionCounter = 0;
	htim1.Init.AutoReloadPreload = TIM_AUTORELOAD_PRELOAD_DISABLE;
	if (HAL_TIM_Base_Init(&htim1) != HAL_OK) {
		Error_Handler();
	}
	sClockSourceConfig.ClockSource = TIM_CLOCKSOURCE_INTERNAL;
	if (HAL_TIM_ConfigClockSource(&htim1, &sClockSourceConfig) != HAL_OK) {
		Error_Handler();
	}
	if (HAL_TIM_PWM_Init(&htim1) != HAL_OK) {
		Error_Handler();
	}
	sMasterConfig.MasterOutputTrigger = TIM_TRGO_RESET;
	sMasterConfig.MasterSlaveMode = TIM_MASTERSLAVEMODE_DISABLE;
	if (HAL_TIMEx_MasterConfigSynchronization(&htim1, &sMasterConfig)
			!= HAL_OK) {
		Error_Handler();
	}
	sConfigOC.OCMode = TIM_OCMODE_PWM1;
	sConfigOC.Pulse = 0;
	sConfigOC.OCPolarity = TIM_OCPOLARITY_HIGH;
	sConfigOC.OCNPolarity = TIM_OCNPOLARITY_HIGH;
	sConfigOC.OCFastMode = TIM_OCFAST_DISABLE;
	sConfigOC.OCIdleState = TIM_OCIDLESTATE_RESET;
	sConfigOC.OCNIdleState = TIM_OCNIDLESTATE_RESET;
	if (HAL_TIM_PWM_ConfigChannel(&htim1, &sConfigOC, TIM_CHANNEL_1)
			!= HAL_OK) {
		Error_Handler();
	}
	if (HAL_TIM_PWM_ConfigChannel(&htim1, &sConfigOC, TIM_CHANNEL_2)
			!= HAL_OK) {
		Error_Handler();
	}
	sBreakDeadTimeConfig.OffStateRunMode = TIM_OSSR_DISABLE;
	sBreakDeadTimeConfig.OffStateIDLEMode = TIM_OSSI_DISABLE;
	sBreakDeadTimeConfig.LockLevel = TIM_LOCKLEVEL_OFF;
	sBreakDeadTimeConfig.DeadTime = 0;
	sBreakDeadTimeConfig.BreakState = TIM_BREAK_DISABLE;
	sBreakDeadTimeConfig.BreakPolarity = TIM_BREAKPOLARITY_HIGH;
	sBreakDeadTimeConfig.AutomaticOutput = TIM_AUTOMATICOUTPUT_DISABLE;
	if (HAL_TIMEx_ConfigBreakDeadTime(&htim1, &sBreakDeadTimeConfig)
			!= HAL_OK) {
		Error_Handler();
	}
	HAL_TIM_MspPostInit(&htim1);

}

static void MX_TIM2_Init(void) {

	TIM_ClockConfigTypeDef sClockSourceConfig = { 0 };
	TIM_MasterConfigTypeDef sMasterConfig = { 0 };

	htim2.Instance = TIM2;
	htim2.Init.Prescaler = 0;
	htim2.Init.CounterMode = TIM_COUNTERMODE_UP;
	htim2.Init.Period = 4294967295;
	htim2.Init.ClockDivision = TIM_CLOCKDIVISION_DIV1;
	htim2.Init.AutoReloadPreload = TIM_AUTORELOAD_PRELOAD_DISABLE;
	if (HAL_TIM_Base_Init(&htim2) != HAL_OK) {
		Error_Handler();
	}
	sClockSourceConfig.ClockSource = TIM_CLOCKSOURCE_INTERNAL;
	if (HAL_TIM_ConfigClockSource(&htim2, &sClockSourceConfig) != HAL_OK) {
		Error_Handler();
	}
	sMasterConfig.MasterOutputTrigger = TIM_TRGO_RESET;
	sMasterConfig.MasterSlaveMode = TIM_MASTERSLAVEMODE_DISABLE;
	if (HAL_TIMEx_MasterConfigSynchronization(&htim2, &sMasterConfig)
			!= HAL_OK) {
		Error_Handler();
	}

}

static void MX_USART2_UART_Init(void) {

	huart2.Instance = USART2;
	huart2.Init.BaudRate = 9600;
	huart2.Init.WordLength = UART_WORDLENGTH_8B;
	huart2.Init.StopBits = UART_STOPBITS_1;
	huart2.Init.Parity = UART_PARITY_NONE;
	huart2.Init.Mode = UART_MODE_TX_RX;
	huart2.Init.HwFlowCtl = UART_HWCONTROL_NONE;
	huart2.Init.OverSampling = UART_OVERSAMPLING_16;
	if (HAL_UART_Init(&huart2) != HAL_OK) {
		Error_Handler();
	}

}

static void MX_DMA_Init(void) {

	/* DMA controller clock enable */
	__HAL_RCC_DMA2_CLK_ENABLE();

	/* DMA interrupt init */
	/* DMA2_Stream0_IRQn interrupt configuration */
	HAL_NVIC_SetPriority(DMA2_Stream0_IRQn, 0, 0);
	HAL_NVIC_EnableIRQ(DMA2_Stream0_IRQn);

}

static void MX_GPIO_Init(void) {
	GPIO_InitTypeDef GPIO_InitStruct = { 0 };

	/* GPIO Ports Clock Enable */
	__HAL_RCC_GPIOH_CLK_ENABLE();
	__HAL_RCC_GPIOA_CLK_ENABLE();
	__HAL_RCC_GPIOB_CLK_ENABLE();

	/*Configure GPIO pin Output Level */
	HAL_GPIO_WritePin(GPIOB, Relay1_Pin | Relay2_Pin, GPIO_PIN_RESET);

	/*Configure GPIO pins : LEFT_Pin RIGHT_Pin */
	GPIO_InitStruct.Pin = LEFT_Pin | RIGHT_Pin;
	GPIO_InitStruct.Mode = GPIO_MODE_IT_RISING;
	GPIO_InitStruct.Pull = GPIO_NOPULL;
	HAL_GPIO_Init(GPIOB, &GPIO_InitStruct);

	/*Configure GPIO pins : Relay1_Pin Relay2_Pin */
	GPIO_InitStruct.Pin = Relay1_Pin | Relay2_Pin;
	GPIO_InitStruct.Mode = GPIO_MODE_OUTPUT_PP;
	GPIO_InitStruct.Pull = GPIO_NOPULL;
	GPIO_InitStruct.Speed = GPIO_SPEED_FREQ_LOW;
	HAL_GPIO_Init(GPIOB, &GPIO_InitStruct);

	/* EXTI interrupt init*/
	HAL_NVIC_SetPriority(EXTI0_IRQn, 0, 0);
	HAL_NVIC_EnableIRQ(EXTI0_IRQn);

	HAL_NVIC_SetPriority(EXTI1_IRQn, 0, 0);
	HAL_NVIC_EnableIRQ(EXTI1_IRQn);

}

void Error_Handler(void) {
	__disable_irq();
	while (1) {
	}
}
